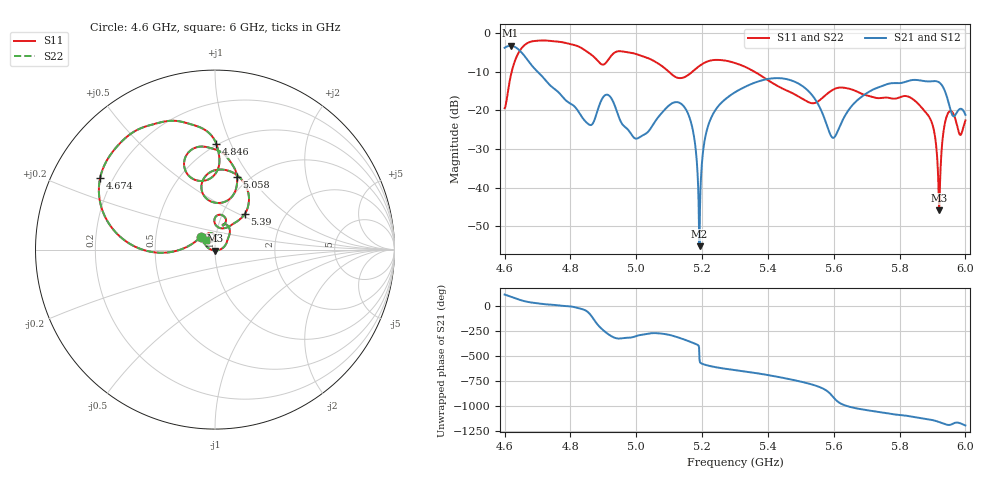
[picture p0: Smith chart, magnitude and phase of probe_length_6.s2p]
! TOUCHSTONE file generated by CST MICROWAVE STUDIO
! Date and time: Sat Nov 30 13:12:00 2024
! Project name: test_tuning.cst
! Parameters = {airCoaxOuterDiameter=3; chamferAngle=45; chamferWidth=24; connectorLength=10; drillingHoleDiameter=4.1; feedLength=60; flareDiameter=130; flareLength=70; gratingDistance=0; gratingGap=1.90274; outletLength=30; polarizerLength=134; probe1Diameter=1.3; probe1Distance=14; probe1Length=1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
! Header version: 2024
! Port assignment regex: !\s*Touchstone port\s*([0-9]+)\s*=\s*(CST MWS port|CST DES external port|CST DES block port)\s*(.+)\s* \(\"(.*)\"\)(\s*mode\s*([0-9]+))?.*
! Touchstone port assignment:
! Touchstone port 1 = CST MWS port 1 ("Input1")
! Touchstone port 2 = CST MWS port 2 ("Input2")
# GHz S MA R 50
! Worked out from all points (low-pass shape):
!   1001 points, 4.6 GHz to 6 GHz, reference 50 ohm
!   highest |S21| = -3.33 dB at 4.618 GHz (marker M1); lowest = -55.1 dB at 5.192 GHz (marker M2)
!   |S21| within 3 dB of the highest: start of sweep to 4.664 GHz
!   lowest |S11| = -45.9 dB at 5.92 GHz (marker M3), VSWR 1.01, Z = 50.1 - j0.504 ohm
!   |S11| at or under -10 dB: start of sweep to 4.621609 GHz; 5.098 GHz to 5.171 GHz (72.52 MHz wide, 1.41 % of centre); 5.358 GHz to end of sweep
!   |S22| runs from -45.9 to -2.0 dB; largest |S21 - S12| = 1.3e-06
!   S11 on the Smith chart (normalised r, x): 4.6 GHz: 0.85, +0.12; 4.674 GHz: 0.15, +0.28; 4.846 GHz: 0.49, +0.88; 5.058 GHz: 0.88, +0.87; 5.39 GHz: 1.27, +0.55; 6 GHz: 0.90, +0.10
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4.6  0.1065 138.0  0.6419 112.0  0.6419 112.0  0.1065 138.0
4.6182  0.2733 -176.5  0.6815 91.2  0.6815 91.2  0.2733 -176.5
4.6742  0.7551 147.9  0.4218 36.0  0.4218 36.0  0.7551 147.9
4.8338  0.6367 91.8  0.08326 -32.1  0.08326 -32.1  0.6367 91.8
4.8464  0.5873 89.2  0.07123 -48.1  0.07123 -48.1  0.5873 89.2
4.9108  0.4253 108.7  0.1592 85.0  0.1592 85.0  0.4253 108.7
4.9962  0.5381 85.2  0.04335 52.1  0.04335 52.1  0.5381 85.2
5.0578  0.4235 73.1  0.07225 85.8  0.07225 85.8  0.4235 73.1
5.0676  0.3992 72.0  0.08239 83.8  0.08239 83.8  0.3992 72.0
5.153  0.2769 97.2  0.09896 12.9  0.09896 12.9  0.2769 97.2
5.1754  0.3283 102.5  0.0459 -15.9  0.0459 -15.9  0.3283 102.5
5.1922  0.375 101.3  0.001757 179.4  0.001757 179.4  0.375 101.3
5.2216  0.435 92.8  0.06931 118.1  0.06931 118.1  0.435 92.8
5.3  0.4079 67.0  0.171 75.4  0.171 75.4  0.4079 67.0
5.3896  0.2616 50.1  0.2485 31.9  0.2485 31.9  0.2616 50.1
5.5338  0.1234 74.3  0.1577 -68.5  0.1577 -68.5  0.1234 74.3
5.5996  0.1863 88.0  0.04417 160.4  0.04417 160.4  0.1863 88.0
5.7676  0.1447 71.3  0.2209 0.8  0.2209 0.8  0.1447 71.3
5.888  0.08451 36.1  0.236 -57.7  0.236 -57.7  0.08451 36.1
5.9202  0.00509 -81.6  0.2293 -84.6  0.2293 -84.6  0.005088 -81.6
5.9468  0.0911 128.1  0.1353 -113.2  0.1353 -113.2  0.0911 128.1
6  0.07398 134.2  0.08733 -118.7  0.08733 -118.7  0.07398 134.2
